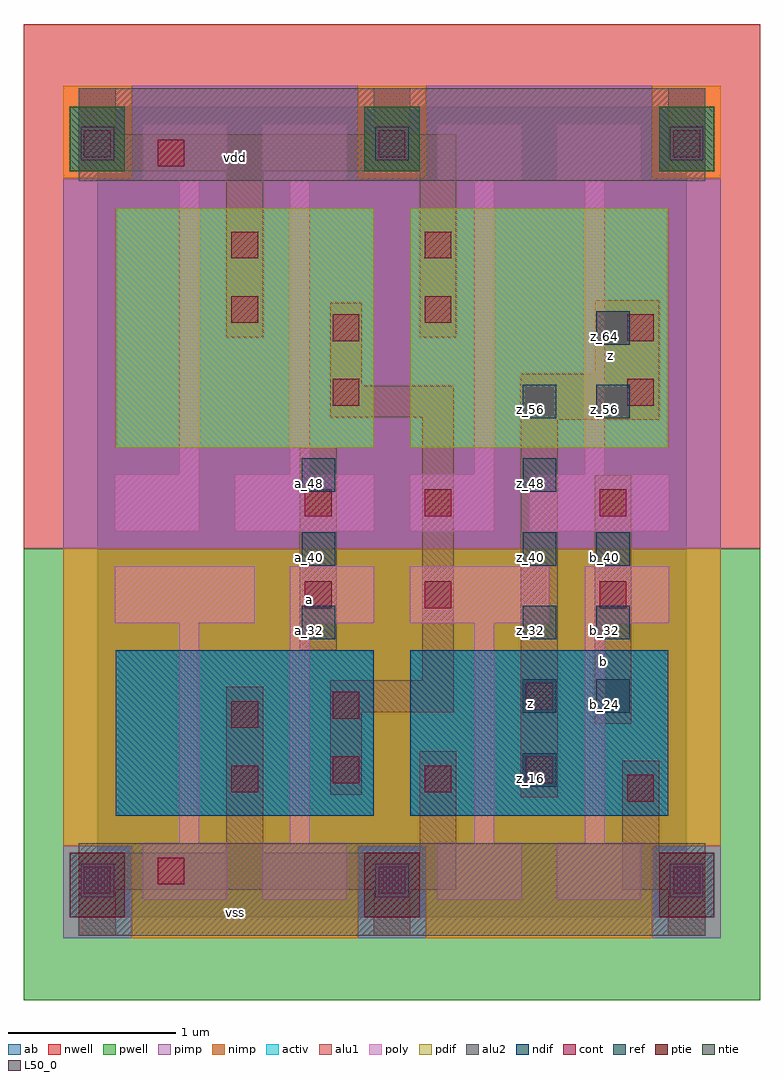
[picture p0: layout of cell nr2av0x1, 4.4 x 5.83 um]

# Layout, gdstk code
import gdstk
lib = gdstk.Library(unit=1e-6, precision=2.5e-09)
def R(c, l, rs):  # rectangles x0, y0, x1, y1
    for r in rs: c.add(gdstk.rectangle(r[:2], r[2:], *l))
def A(c, l, x, y, w, h, nx, ny, dx, dy):  # array of equal rectangles
    R(c, l, [(x+i*dx, y+j*dy, x+i*dx+w, y+j*dy+h) for i in range(nx) for j in range(ny)])
ndif = (3, 0)
pdif = (4, 0)
ntie = (5, 0)
ptie = (6, 0)
ref = (24, 0)
cont = (25, 0)
pwell = (41, 0)
nwell = (42, 0)
activ = (43, 0)
pimp = (44, 0)
nimp = (45, 0)
poly = (46, 0)
alu1 = (49, 0)
L50_0 = (50, 0)
alu2 = (51, 0)
ab = (63, 0)

nr2av0x1 = lib.new_cell('nr2av0x1')
R(nr2av0x1, ndif, [(0.11,0.605,1.65,1.595), (1.87,0.605,3.41,1.595)])
R(nr2av0x1, pdif, [(0.11,2.805,1.65,4.235), (1.87,2.805,3.41,4.235)])
A(nr2av0x1, ntie, -0.165, 4.455, 0.33, 0.385, 3, 1, 1.76, 0)
A(nr2av0x1, ptie, -0.165, 0, 0.33, 0.385, 3, 1, 1.76, 0)
A(nr2av0x1, ref, 2.54, 0.78, 0.2, 0.2, 1, 6, 0, 0.44)
A(nr2av0x1, ref, 2.98, 1.22, 0.2, 0.2, 1, 3, 0, 0.44)
A(nr2av0x1, ref, 1.22, 1.66, 0.2, 0.2, 1, 3, 0, 0.44)
R(nr2av0x1, ref, [(2.98,2.98,3.18,3.18), (2.98,3.42,3.18,3.62)])
A(nr2av0x1, cont, -0.08, 0.14, 0.16, 0.16, 3, 2, 1.76, 4.4)
R(nr2av0x1, cont, [(0.36,0.195,0.52,0.355), (3.165,0.69,3.325,0.85), (0.8,0.745,0.96,0.905), (1.955,0.745,2.115,0.905), (1.405,0.8,1.565,0.96), (2.56,0.8,2.72,0.96), (0.8,1.13,0.96,1.29), (1.405,1.185,1.565,1.345), (2.56,1.24,2.72,1.4), (1.24,1.845,1.4,2.005), (1.955,1.845,2.115,2.005), (3,1.845,3.16,2.005), (1.24,2.395,1.4,2.555), (1.955,2.395,2.115,2.555), (3,2.395,3.16,2.555), (1.405,3.055,1.565,3.215), (3.165,3.055,3.325,3.215), (1.405,3.44,1.565,3.6), (3.165,3.44,3.325,3.6), (0.8,3.55,0.96,3.71), (1.955,3.55,2.115,3.71), (0.8,3.935,0.96,4.095), (1.955,3.935,2.115,4.095), (0.36,4.485,0.52,4.645)])
R(nr2av0x1, pwell, [(-0.44,-0.495,3.96,2.2)])
R(nr2av0x1, nwell, [(-0.44,2.2,3.96,5.335)])
A(nr2av0x1, activ, -0.165, 0, 0.33, 0.385, 3, 2, 1.76, 4.455)
R(nr2av0x1, activ, [(0.11,0.605,1.65,1.595), (1.87,0.605,3.41,1.595), (0.11,2.805,1.65,4.235), (1.87,2.805,3.41,4.235)])
A(nr2av0x1, pimp, -0.205, -0.125, 0.41, 0.55, 3, 1, 1.76, 0)
R(nr2av0x1, pimp, [(-0.205,2.2,3.725,4.415), (0.205,4.415,1.555,4.965), (1.965,4.415,3.315,4.965)])
A(nr2av0x1, nimp, -0.205, 4.415, 0.41, 0.55, 3, 1, 1.76, 0)
R(nr2av0x1, nimp, [(0.205,-0.125,1.555,0.425), (1.965,-0.125,3.315,0.425), (-0.205,0.425,3.725,2.2)])
R(nr2av0x1, poly, [(0.27,0.105,0.775,0.445), (0.985,0.105,1.49,0.445), (2.03,0.105,2.535,0.445), (2.745,0.105,3.25,0.445), (0.49,0.445,0.61,1.755), (1.15,0.445,1.27,1.755), (2.25,0.445,2.37,1.755), (2.91,0.445,3.03,1.755), (0.105,1.755,0.94,2.095), (1.15,1.755,1.655,2.095), (1.865,1.755,2.7,2.095), (2.91,1.755,3.415,2.095), (0.105,2.305,0.61,2.645), (0.82,2.305,1.655,2.645), (1.865,2.305,2.37,2.645), (2.58,2.305,3.415,2.645), (0.49,2.645,0.61,4.395), (1.15,2.645,1.27,4.395), (2.25,2.645,2.37,4.395), (2.91,2.645,3.03,4.395), (0.27,4.395,0.775,4.735), (0.985,4.395,1.49,4.735), (2.03,4.395,2.535,4.735), (2.745,4.395,3.25,4.735)])
A(nr2av0x1, alu1, -0.11, -0.11, 0.22, 0.275, 3, 1, 1.76, 0)
R(nr2av0x1, alu1, [(-0.11,0.165,2.145,0.385), (3.135,0.165,3.63,0.385), (0.77,0.385,0.99,1.375), (1.925,0.385,2.145,0.99), (3.135,0.385,3.355,0.935), (2.53,0.715,2.75,2.97), (1.39,0.73,1.58,1.225), (2.97,1.155,3.19,2.64), (1.39,1.225,2.13,1.415), (1.94,1.415,2.13,2.985), (1.21,1.595,1.43,2.805), (2.53,2.97,3.355,3.245), (1.39,2.985,2.13,3.175), (1.39,3.175,1.58,3.67), (2.97,3.245,3.355,3.685), (0.77,3.465,0.99,4.455), (1.925,3.465,2.145,4.455), (-0.11,4.455,2.145,4.675), (3.41,4.455,3.63,4.95), (-0.11,4.675,0.11,4.95), (1.65,4.675,1.87,4.95)])
A(nr2av0x1, L50_0, -0.1, 0.12, 0.2, 0.2, 3, 2, 1.76, 4.4)
R(nr2av0x1, alu2, [(-0.11,-0.11,3.63,0.44), (-0.11,4.4,3.63,4.95)])
R(nr2av0x1, ab, [(0,0,3.52,4.84)])
nr2av0x1.add(gdstk.Label('b', (3.025,1.525), layer=49, texttype=0))
nr2av0x1.add(gdstk.Label('z', (2.585,1.2775), layer=49, texttype=0))
nr2av0x1.add(gdstk.Label('a', (1.265,1.8975), layer=49, texttype=0))
nr2av0x1.add(gdstk.Label('z', (3.065,3.355), layer=49, texttype=0))
nr2av0x1.add(gdstk.Label('vss', (0.825,0.0275), layer=51, texttype=0))
nr2av0x1.add(gdstk.Label('vdd', (0.825,4.5375), layer=51, texttype=0))
nr2av0x1.add(gdstk.Label('a_32', (1.27,1.71), layer=24, texttype=0))
nr2av0x1.add(gdstk.Label('a_40', (1.27,2.15), layer=24, texttype=0))
nr2av0x1.add(gdstk.Label('a_48', (1.27,2.59), layer=24, texttype=0))
nr2av0x1.add(gdstk.Label('b_40', (3.03,2.15), layer=24, texttype=0))
nr2av0x1.add(gdstk.Label('z_64', (3.03,3.47), layer=24, texttype=0))
nr2av0x1.add(gdstk.Label('z_16', (2.59,0.83), layer=24, texttype=0))
nr2av0x1.add(gdstk.Label('z_56', (3.03,3.03), layer=24, texttype=0))
nr2av0x1.add(gdstk.Label('b_24', (3.03,1.27), layer=24, texttype=0))
nr2av0x1.add(gdstk.Label('b_32', (3.03,1.71), layer=24, texttype=0))
nr2av0x1.add(gdstk.Label('z_40', (2.59,2.15), layer=24, texttype=0))
nr2av0x1.add(gdstk.Label('z_48', (2.59,2.59), layer=24, texttype=0))
nr2av0x1.add(gdstk.Label('z_56', (2.59,3.03), layer=24, texttype=0))
nr2av0x1.add(gdstk.Label('z_32', (2.59,1.71), layer=24, texttype=0))
nr2av0x1.add(gdstk.Label('z_24', (2.59,1.27), layer=24, texttype=0))

lib.write_gds('nr2av0x1.gds')
